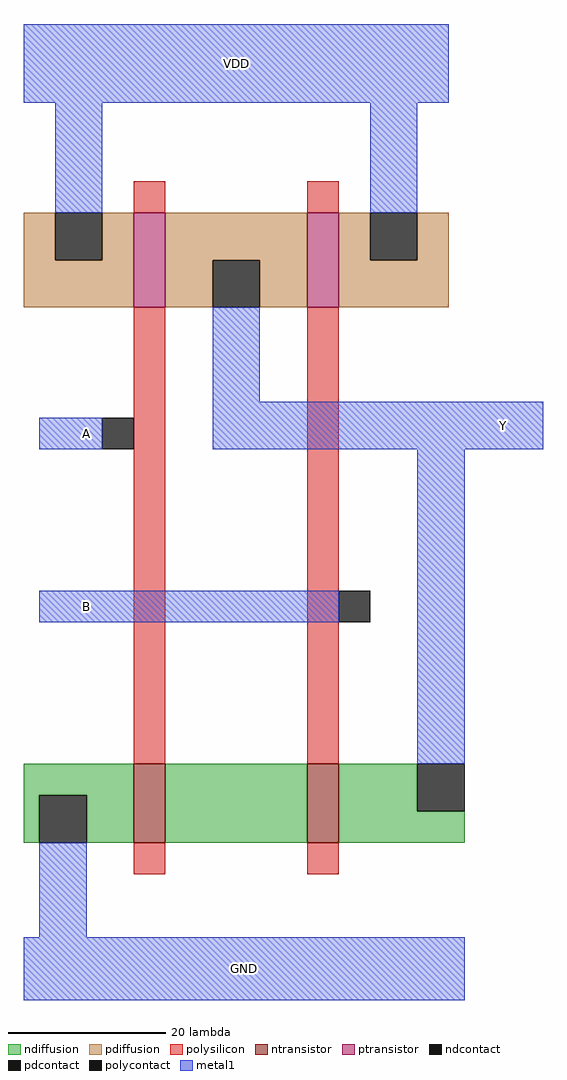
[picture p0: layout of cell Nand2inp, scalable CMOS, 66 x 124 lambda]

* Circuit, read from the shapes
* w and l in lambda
.subckt Nand2inp A B GND VDD Y
M1 n1 A GND VSUBS nfet w=10 l=4
M2 Y B n1 VSUBS nfet w=10 l=4
M3 Y A VDD NWELL pfet w=12 l=4
M4 VDD B Y NWELL pfet w=12 l=4
.ends

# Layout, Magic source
magic
tech scmos
<< polysilicon >>
rect -8 44 -4 48
rect 14 44 18 48
rect -8 -26 -4 32
rect 14 -26 18 32
rect -8 -40 -4 -36
rect 14 -40 18 -36
<< ndiffusion >>
rect -22 -30 -8 -26
rect -22 -36 -20 -30
rect -14 -36 -8 -30
rect -4 -36 14 -26
rect 18 -32 28 -26
rect 18 -36 34 -32
<< pdiffusion >>
rect -22 38 -18 44
rect -12 38 -8 44
rect -22 32 -8 38
rect -4 38 14 44
rect -4 32 2 38
rect 8 32 14 38
rect 18 38 22 44
rect 28 38 32 44
rect 18 32 32 38
<< metal1 >>
rect -22 58 32 68
rect -18 44 -12 58
rect 22 44 28 58
rect 2 20 8 32
rect -20 14 -12 18
rect 2 14 44 20
rect -20 -8 18 -4
rect 28 -26 34 14
rect -20 -48 -14 -36
rect -22 -56 34 -48
<< ntransistor >>
rect -8 -36 -4 -26
rect 14 -36 18 -26
<< ptransistor >>
rect -8 32 -4 44
rect 14 32 18 44
<< polycontact >>
rect -12 14 -8 18
rect 18 -8 22 -4
<< ndcontact >>
rect -20 -36 -14 -30
rect 28 -32 34 -26
<< pdcontact >>
rect -18 38 -12 44
rect 2 32 8 38
rect 22 38 28 44
<< labels >>
rlabel metal1 -20 14 -8 18 1 A
rlabel metal1 -20 -8 -8 -4 1 B
rlabel metal1 -22 -56 34 -48 1 GND
rlabel metal1 -22 58 32 68 5 VDD
rlabel metal1 34 14 44 20 7 Y
<< end >>
